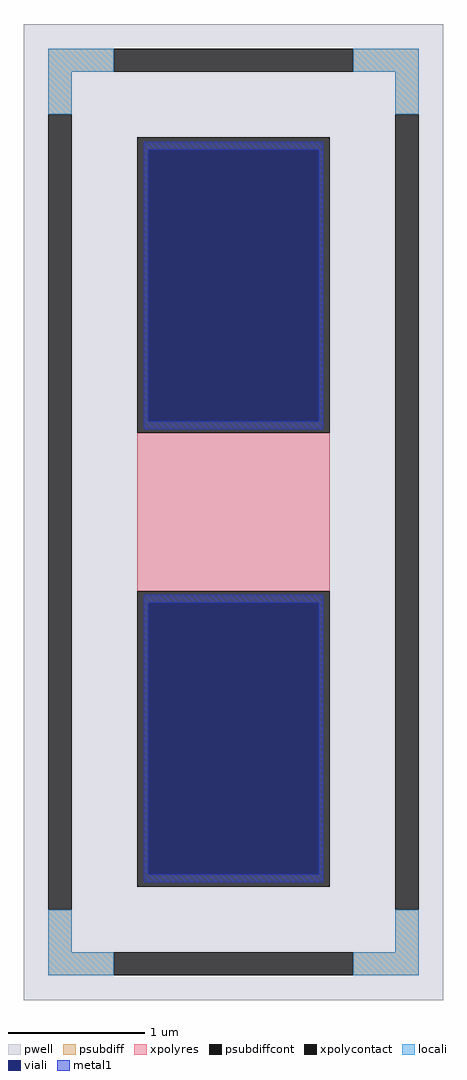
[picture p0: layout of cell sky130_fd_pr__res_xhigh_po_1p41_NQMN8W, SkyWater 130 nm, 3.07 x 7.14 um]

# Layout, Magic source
magic
tech sky130A
magscale 1 2
<< pwell >>
rect -307 -714 307 714
<< psubdiff >>
rect -271 644 -175 678
rect 175 644 271 678
rect -271 582 -237 644
rect 237 582 271 644
rect -271 -644 -237 -582
rect 237 -644 271 -582
rect -271 -678 -175 -644
rect 175 -678 271 -644
<< psubdiffcont >>
rect -175 644 175 678
rect -271 -582 -237 582
rect 237 -582 271 582
rect -175 -678 175 -644
<< xpolycontact >>
rect -141 116 141 548
rect -141 -548 141 -116
<< xpolyres >>
rect -141 -116 141 116
<< locali >>
rect -271 644 -175 678
rect 175 644 271 678
rect -271 582 -237 644
rect 237 582 271 644
rect -271 -644 -237 -582
rect 237 -644 271 -582
rect -271 -678 -175 -644
rect 175 -678 271 -644
<< viali >>
rect -125 133 125 530
rect -125 -530 125 -133
<< metal1 >>
rect -131 530 131 542
rect -131 133 -125 530
rect 125 133 131 530
rect -131 121 131 133
rect -131 -133 131 -121
rect -131 -530 -125 -133
rect 125 -530 131 -133
rect -131 -542 131 -530
<< properties >>
string FIXED_BBOX -254 -661 254 661
string gencell sky130_fd_pr__res_xhigh_po_1p41
string library sky130
string parameters w 1.410 l 1.323 m 1 nx 1 wmin 1.410 lmin 0.50 rho 2000 val 2.143k dummy 0 dw 0.0 term 188.2 sterm 0.0 caplen 0 wmax 1.410 guard 1 glc 1 grc 1 gtc 1 gbc 1 compatible {sky130_fd_pr__res_xhigh_po_0p35  sky130_fd_pr__res_xhigh_po_0p69 sky130_fd_pr__res_xhigh_po_1p41  sky130_fd_pr__res_xhigh_po_2p85 sky130_fd_pr__res_xhigh_po_5p73} snake 0 full_metal 1 n_guard 0 hv_guard 0 vias 1 viagb 0 viagt 0 viagl 0 viagr 0
<< end >>
